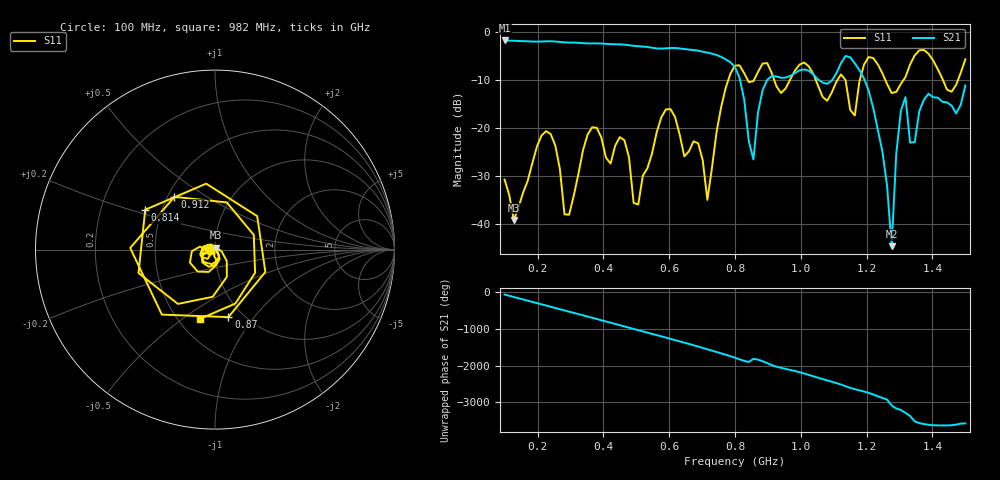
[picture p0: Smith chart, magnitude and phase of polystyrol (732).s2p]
! NanoVNA-App
! Date: 2025-09-25 15:35:35
! Start: 100MHz Stop: 1,5GHz Points: 101
! S-Parameter data: F S11 S21 S12 S22
# Hz S RI R 50
!  Frequency  S11_Real  S11_Imag  S21_Real  S21_Imag  S12_Real  S12_Imag  S22_Real  S22_Imag
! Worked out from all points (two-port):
!   101 points, 100 MHz to 1.5 GHz, reference 50 ohm
!   highest |S21| = -1.80 dB at 100 MHz (marker M1); lowest = -44.6 dB at 1.276 GHz (marker M2)
!   |S21| within 3 dB of the highest: start of sweep to 742.9 MHz
!   lowest |S11| = -39.1 dB at 128 MHz (marker M3), VSWR 1.02, Z = 50.3 + j1.06 ohm
!   |S11| at or under -10 dB: start of sweep to 779.8 MHz; 1.045 GHz to 1.112 GHz (66.18 MHz wide, 6.14 % of centre); 1.135 GHz to 1.179 GHz (43.92 MHz wide, 3.79 % of centre) (the widest 3 of 7)
!   S12 and S22 are empty: the file has one direction only
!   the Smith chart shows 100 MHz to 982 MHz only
!   S11 on the Smith chart (normalised r, x): 100 MHz: 0.94, -0.01; 814 MHz: 0.40, +0.22; 870 MHz: 0.85, -0.75; 912 MHz: 0.54, +0.37; 982 MHz: 0.64, -0.58
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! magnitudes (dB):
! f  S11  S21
! 100 MHz  -30.7  -1.8
! 128 MHz  -39.1  -1.9
! 212 MHz  -21.6  -2.0
! 282 MHz  -38.0  -2.2
! 338 MHz  -24.7  -2.4
! 464 MHz  -22.5  -2.7
! 506 MHz  -35.9  -3.0
! 576 MHz  -17.8  -3.5
! 716 MHz  -35.0  -4.3
! 800 MHz  -7.0  -7.3
! 814 MHz  -7.0  -9.6
! 856 MHz  -10.3  -26.5
! 870 MHz  -8.3  -16.8
! 912 MHz  -8.6  -9.2
! 982 MHz  -8.1  -8.6
! 1.038 GHz  -8.7  -8.9
! 1.164 GHz  -17.4  -6.6
! 1.192 GHz  -6.8  -9.7
! 1.276 GHz  -12.7  -44.6
! 1.318 GHz  -9.4  -13.6
! 1.346 GHz  -4.9  -22.9
! 1.5 GHz  -5.7  -11.1
